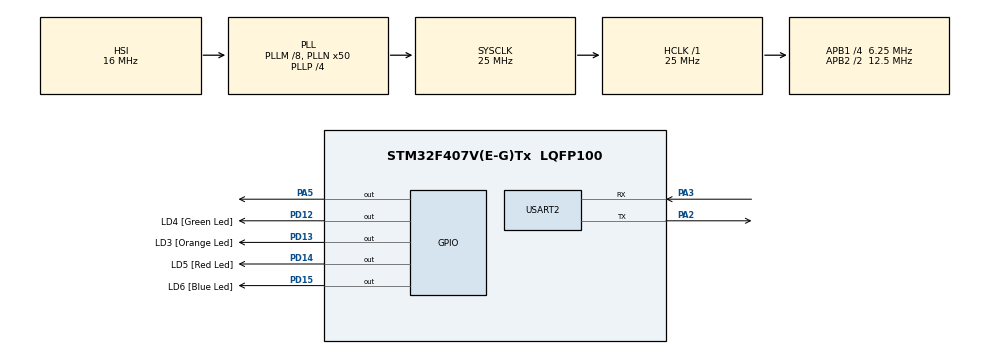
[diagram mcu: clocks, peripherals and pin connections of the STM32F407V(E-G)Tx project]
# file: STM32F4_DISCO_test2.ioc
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Mcu.Family=STM32F4
PD12.GPIO_Label=LD4 [Green Led]
Dma.USART2_TX.1.Priority=DMA_PRIORITY_LOW
RCC.CortexFreq_Value=25000000
PD12.GPIO_Speed=GPIO_SPEED_FREQ_LOW
FREERTOS.Tasks01=defaultTask,24,1500,StartDefaultTask,Default,NULL,Dynamic,NULL,NULL
PD15.GPIO_Label=LD6 [Blue Led]
Dma.USART2_TX.1.FIFOMode=DMA_FIFOMODE_DISABLE
Dma.USART2_TX.1.MemInc=DMA_MINC_ENABLE
PD15.GPIO_Speed=GPIO_SPEED_FREQ_LOW
Dma.USART2_RX.0.Direction=DMA_PERIPH_TO_MEMORY
RCC.APB1CLKDivider=RCC_HCLK_DIV4
Dma.USART2_TX.1.PeriphDataAlignment=DMA_PDATAALIGN_BYTE
RCC.SYSCLKSource=RCC_SYSCLKSOURCE_PLLCLK
ProjectManager.StackSize=0x400
VP_FREERTOS_VS_CMSIS_V2.Mode=CMSIS_V2
Dma.USART2_RX.0.Mode=DMA_NORMAL
PA13.Signal=SYS_JTMS-SWDIO
PD13.Signal=GPIO_Output
PA3.Mode=Asynchronous
PD14.GPIO_Speed=GPIO_SPEED_FREQ_LOW
ProjectManager.TargetToolchain=EWARM V8.32
NVIC.DMA1_Stream5_IRQn=true\:0\:0\:false\:false\:true\:true\:false\:true
Dma.USART2_RX.0.Priority=DMA_PRIORITY_LOW
Dma.USART2_RX.0.PeriphDataAlignment=DMA_PDATAALIGN_BYTE
RCC.HCLKFreq_Value=25000000
RCC.APB2TimFreq_Value=25000000
Dma.USART2_TX.1.Mode=DMA_NORMAL
RCC.LSE_VALUE=32768
RCC.AHBFreq_Value=25000000
PA5.Signal=GPIO_Output
RCC.HSE_VALUE=8000000
Dma.USART2_TX.1.PeriphInc=DMA_PINC_DISABLE
board=STM32F407G-DISC1
PD13.GPIO_Speed=GPIO_SPEED_FREQ_LOW
RCC.VCOOutputFreq_Value=100000000
Dma.USART2_TX.1.Direction=DMA_MEMORY_TO_PERIPH
RCC.APB2Freq_Value=12500000
Dma.USART2_RX.0.MemDataAlignment=DMA_MDATAALIGN_BYTE
PA14.Mode=Serial_Wire
Dma.USART2_TX.1.Instance=DMA1_Stream6
Dma.USART2_RX.0.Instance=DMA1_Stream5
PD13.GPIO_PuPd=GPIO_NOPULL
PD14.GPIO_PuPd=GPIO_NOPULL
PD14.GPIO_Label=LD5 [Red Led]
PA13.Mode=Serial_Wire
Mcu.Name=STM32F407V(E-G)Tx
Dma.USART2_RX.0.MemInc=DMA_MINC_ENABLE
FREERTOS.configTOTAL_HEAP_SIZE=50000
PA2.Signal=USART2_TX
PD14.Signal=GPIO_Output
RCC.48MHZClocksFreq_Value=14285714.285714285
RCC.SYSCLKFreq_VALUE=25000000
PD13.GPIO_Label=LD3 [Orange Led]
Mcu.Package=LQFP100
Dma.USART2_RX.0.PeriphInc=DMA_PINC_DISABLE
USART2.VirtualMode=VM_ASYNC
Dma.USART2_RX.0.FIFOMode=DMA_FIFOMODE_DISABLE
PD12.Signal=GPIO_Output
PD15.GPIO_PuPd=GPIO_NOPULL
PA14.Signal=SYS_JTCK-SWCLK
ProjectManager.HeapSize=0x200
RCC.HSI_VALUE=16000000
RCC.PLLP=RCC_PLLP_DIV4
RCC.PLLQ=7
NVIC.PriorityGroup=NVIC_PRIORITYGROUP_0
RCC.APB2CLKDivider=RCC_HCLK_DIV2
RCC.PLLM=8
RCC.PLLN=50
Dma.Request1=USART2_TX
RCC.APB1TimFreq_Value=12500000
PA2.Mode=Asynchronous
Dma.USART2_TX.1.MemDataAlignment=DMA_MDATAALIGN_BYTE
Dma.Request0=USART2_RX
NVIC.DMA1_Stream6_IRQn=true\:0\:0\:false\:false\:true\:true\:false\:true
RCC.APB1Freq_Value=6250000
PD15.Signal=GPIO_Output
PD12.GPIO_PuPd=GPIO_NOPULL
PA3.Signal=USART2_RX

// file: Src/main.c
/* USER CODE BEGIN Header */
/**
 ******************************************************************************
 * @file           : main.c
 * @brief          : Main program body
 ******************************************************************************
 * @attention
 *
 * <h2><center>&copy; Copyright (c) 2020 STMicroelectronics.
 * All rights reserved.</center></h2>
 *
 * This software component is licensed by ST under BSD 3-Clause license,
 * the "License"; You may not use this file except in compliance with the
 * License. You may obtain a copy of the License at:
 *                        opensource.org/licenses/BSD-3-Clause
 *
 ******************************************************************************
 */
/* USER CODE END Header */

#include "main.h"

#include "cmsis_os.h"

/* USER CODE BEGIN Includes */
#include <allocators.h>
#include <rcl/rcl.h>
#include <rmw_microxrcedds_c/config.h>
#include <ucdr/microcdr.h>
#include <uxr/client/client.h>

#include "FreeRTOS.h"
#include "stm32f4xx_hal.h"
#include "task.h"
/* USER CODE END Includes */

UART_HandleTypeDef huart2;
DMA_HandleTypeDef hdma_usart2_tx;
DMA_HandleTypeDef hdma_usart2_rx;

/* Definitions for defaultTask */
osThreadId_t defaultTaskHandle;
const osThreadAttr_t defaultTask_attributes = {
    .name = "defaultTask",
    .priority = (osPriority_t)osPriorityBelowNormal,
    .stack_size = 1500 * 4
  };

void SystemClock_Config(void);
static void MX_GPIO_Init(void);
static void MX_DMA_Init(void);
static void MX_USART2_UART_Init(void);
void StartDefaultTask(void *argument);

/* USER CODE BEGIN PFP */
#define BUFSIZE 4096
char buffer[BUFSIZE];
extern struct netif gnetif;
UART_HandleTypeDef *printf_uart = NULL;
/* USER CODE END PFP */

/* USER CODE BEGIN 0 */
int __io_putchar(int ch) {
  uint8_t c[1];
  c[0] = ch & 0x00FF;
  if (printf_uart != NULL) {
    HAL_UART_Transmit(printf_uart, &c[0], 1, 10);
  }
  return ch;
}

int _write(int file, char *ptr, int len) {
  int DataIdx;
  for (DataIdx = 0; DataIdx < len; DataIdx++) {
    __io_putchar(*ptr++);
  }
  return len;
}
/* USER CODE END 0 */

int main(void) {

  /* MCU Configuration--------------------------------------------------------*/

  /* Reset of all peripherals, Initializes the Flash interface and the Systick.
   */
  HAL_Init();

  /* Configure the system clock */
  SystemClock_Config();

  /* Initialize all configured peripherals */
  MX_GPIO_Init();
  MX_DMA_Init();
  MX_USART2_UART_Init();
  /* USER CODE BEGIN 2 */
#ifdef MICRO_XRCEDDS_UDP
  printf_uart = &huart2;
#elif defined(MICRO_XRCEDDS_CUSTOM_SERIAL)
  if (strcmp("2", RMW_UXRCE_DEFAULT_SERIAL_DEVICE)) {
    printf_uart = &huart2;
  }
#endif
  /* USER CODE END 2 */

  /* Init scheduler */
  osKernelInitialize();

  /* Create the thread(s) */
  /* creation of defaultTask */
  defaultTaskHandle =
      osThreadNew(StartDefaultTask, NULL, &defaultTask_attributes);

  /* Start scheduler */
  osKernelStart();

  /* We should never get here as control is now taken by the scheduler */
  /* Infinite loop */
  while (1) {
  }
}

void SystemClock_Config(void) {
  RCC_OscInitTypeDef RCC_OscInitStruct = {0};
  RCC_ClkInitTypeDef RCC_ClkInitStruct = {0};
  //RCC_PeriphCLKInitTypeDef PeriphClkInitStruct = {0};

  /** Configure the main internal regulator output voltage
   */
  __HAL_RCC_PWR_CLK_ENABLE();
  __HAL_PWR_VOLTAGESCALING_CONFIG(PWR_REGULATOR_VOLTAGE_SCALE1);
  /** Initializes the CPU, AHB and APB busses clocks
   */
  RCC_OscInitStruct.OscillatorType = RCC_OSCILLATORTYPE_HSI;
  RCC_OscInitStruct.HSIState = RCC_HSI_ON;
  RCC_OscInitStruct.HSICalibrationValue = RCC_HSICALIBRATION_DEFAULT;
  RCC_OscInitStruct.PLL.PLLState = RCC_PLL_ON;
  RCC_OscInitStruct.PLL.PLLSource = RCC_PLLSOURCE_HSI;
  RCC_OscInitStruct.PLL.PLLM = 8;
  RCC_OscInitStruct.PLL.PLLN = 50;
  RCC_OscInitStruct.PLL.PLLP = RCC_PLLP_DIV4;
  RCC_OscInitStruct.PLL.PLLQ = 7;
  if (HAL_RCC_OscConfig(&RCC_OscInitStruct) != HAL_OK)
  {
    Error_Handler();
  }
  /** Initializes the CPU, AHB and APB busses clocks
   */
  RCC_ClkInitStruct.ClockType = RCC_CLOCKTYPE_HCLK | RCC_CLOCKTYPE_SYSCLK |
                                RCC_CLOCKTYPE_PCLK1 | RCC_CLOCKTYPE_PCLK2;
  RCC_ClkInitStruct.SYSCLKSource = RCC_SYSCLKSOURCE_PLLCLK;
  RCC_ClkInitStruct.AHBCLKDivider = RCC_SYSCLK_DIV1;
  RCC_ClkInitStruct.APB1CLKDivider = RCC_HCLK_DIV4;
  RCC_ClkInitStruct.APB2CLKDivider = RCC_HCLK_DIV2;

  if (HAL_RCC_ClockConfig(&RCC_ClkInitStruct, FLASH_LATENCY_0) != HAL_OK) {
    Error_Handler();
  }
  /*
  PeriphClkInitStruct.PeriphClockSelection = RCC_PERIPHCLK_CLK48;
  PeriphClkInitStruct.Clk48ClockSelection = RCC_CLK48CLKSOURCE_PLLQ;
  if (HAL_RCCEx_PeriphCLKConfig(&PeriphClkInitStruct) != HAL_OK) {
    Error_Handler();
  }
  */
}

static void MX_USART2_UART_Init(void) {

  huart2.Instance = USART2;
  huart2.Init.BaudRate = 115200;
  huart2.Init.WordLength = UART_WORDLENGTH_8B;
  huart2.Init.StopBits = UART_STOPBITS_1;
  huart2.Init.Parity = UART_PARITY_NONE;
  huart2.Init.Mode = UART_MODE_TX_RX;
  huart2.Init.HwFlowCtl = UART_HWCONTROL_NONE;
  huart2.Init.OverSampling = UART_OVERSAMPLING_16;
  if (HAL_UART_Init(&huart2) != HAL_OK)
  {
    Error_Handler();
  }
}

static void MX_DMA_Init(void)
{

  /* DMA controller clock enable */
  __HAL_RCC_DMA1_CLK_ENABLE();

  /* DMA interrupt init */
  /* DMA1_Stream5_IRQn interrupt configuration */
  HAL_NVIC_SetPriority(DMA1_Stream5_IRQn, 0, 0);
  HAL_NVIC_EnableIRQ(DMA1_Stream5_IRQn);
  /* DMA1_Stream6_IRQn interrupt configuration */
  HAL_NVIC_SetPriority(DMA1_Stream6_IRQn, 0, 0);
  HAL_NVIC_EnableIRQ(DMA1_Stream6_IRQn);

}

static void MX_GPIO_Init(void) {
  GPIO_InitTypeDef GPIO_InitStruct = {0};

  /* GPIO Ports Clock Enable */
  __HAL_RCC_GPIOB_CLK_ENABLE();
  __HAL_RCC_GPIOD_CLK_ENABLE();
  __HAL_RCC_GPIOA_CLK_ENABLE();

  /*Configure GPIO pin Output Level */
  HAL_GPIO_WritePin(GPIOD, LD5_Pin | LD3_Pin | LD4_Pin | LD6_Pin, GPIO_PIN_RESET);

  HAL_GPIO_WritePin(GPIOA, GPIO_PIN_5, GPIO_PIN_RESET);

  /*Configure GPIO pins : LD5_Pin LD3_Pin LD5_Pin */
  GPIO_InitStruct.Pin = LD5_Pin | LD3_Pin | LD4_Pin | LD6_Pin;
  GPIO_InitStruct.Mode = GPIO_MODE_OUTPUT_PP;
  GPIO_InitStruct.Pull = GPIO_NOPULL;
  GPIO_InitStruct.Speed = GPIO_SPEED_FREQ_LOW;
  HAL_GPIO_Init(GPIOD, &GPIO_InitStruct);

  /*Configure GPIO pin : PA5 */
  GPIO_InitStruct.Pin = GPIO_PIN_5;
  GPIO_InitStruct.Mode = GPIO_MODE_OUTPUT_PP;
  GPIO_InitStruct.Pull = GPIO_NOPULL;
  GPIO_InitStruct.Speed = GPIO_SPEED_FREQ_LOW;
  HAL_GPIO_Init(GPIOA, &GPIO_InitStruct);

}

void StartDefaultTask(void *argument) {
  /* USER CODE BEGIN 5 */
  /* Infinite loop */
  HAL_GPIO_WritePin(LD4_GPIO_Port, LD4_Pin, GPIO_PIN_SET);
  HAL_GPIO_WritePin(GPIOA, GPIO_PIN_5, GPIO_PIN_SET);
  bool availableNetwork = false;

#ifdef MICRO_XRCEDDS_CUSTOM_SERIAL
  availableNetwork = true;
#elif defined(MICRO_XRCEDDS_UDP)

  printf("Ethernet Initialization\r\n");

  // Waiting for an IP
  printf("Waiting for IP\r\n");
  int retries = 0;
  while (gnetif.ip_addr.addr == 0 && retries < 10) {
    osDelay(500);
    retries++;
  };

  availableNetwork = (gnetif.ip_addr.addr != 0);
  if (availableNetwork) {
    printf("IP: %s\r\n", ip4addr_ntoa(&gnetif.ip_addr));
  } else {
    printf("Impossible to retrieve an IP\n");
  }
#endif

  // Launch app thread when IP configured
  rcl_allocator_t freeRTOS_allocator = rcutils_get_zero_initialized_allocator();
  freeRTOS_allocator.allocate = __freertos_allocate;
  freeRTOS_allocator.deallocate = __freertos_deallocate;
  freeRTOS_allocator.reallocate = __freertos_reallocate;
  freeRTOS_allocator.zero_allocate = __freertos_zero_allocate;

  if (!rcutils_set_default_allocator(&freeRTOS_allocator)) {
    printf("Error on default allocators (line %d)\n", __LINE__);
  }

  osThreadAttr_t attributes;
  memset(&attributes, 0x0, sizeof(osThreadAttr_t));
  attributes.name = "microROS_app";
  attributes.stack_size = 4 * 3000;
  attributes.priority = (osPriority_t)osPriorityNormal1;
  osThreadNew(appMain, NULL, &attributes);
  //HAL_GPIO_WritePin(LD4_GPIO_Port, LD4_Pin, GPIO_PIN_SET);
  osDelay(500);
  char ptrTaskList[500];
  vTaskList(ptrTaskList);
  printf("**********************************\n");
  printf("Task  State   Prio    Stack    Num\n");
  printf("**********************************\n");
  printf(ptrTaskList);
  printf("**********************************\n");

  TaskHandle_t xHandle;
  xHandle = xTaskGetHandle("microROS_app");
/*  if (eTaskGetState(xHandle) == eSuspended) {
  }

  if (availableNetwork == false) {
  }
*/

  while (1) {
    if (eTaskGetState(xHandle) != eSuspended && availableNetwork) {
      HAL_GPIO_WritePin(LD4_GPIO_Port, LD4_Pin, GPIO_PIN_RESET);
      osDelay(100);
      HAL_GPIO_WritePin(LD4_GPIO_Port, LD4_Pin, GPIO_PIN_SET);
      osDelay(100);
      HAL_GPIO_WritePin(LD4_GPIO_Port, LD4_Pin, GPIO_PIN_RESET);
      osDelay(150);
      HAL_GPIO_WritePin(LD4_GPIO_Port, LD4_Pin, GPIO_PIN_SET);
      osDelay(500);
    } else {
      HAL_GPIO_WritePin(LD5_GPIO_Port, LD5_Pin, GPIO_PIN_RESET);
      osDelay(1000);
      HAL_GPIO_WritePin(LD5_GPIO_Port, LD5_Pin, GPIO_PIN_SET);
      osDelay(1000);
    }
  }

  /* USER CODE END 5 */
}

void HAL_TIM_PeriodElapsedCallback(TIM_HandleTypeDef *htim) {
  if (htim->Instance == TIM1) {
    HAL_IncTick();
  }
}

void Error_Handler(void) {
}

#ifdef USE_FULL_ASSERT
/**
 * @brief  Reports the name of the source file and the source line number
 *         where the assert_param error has occurred.
 * @param  file: pointer to the source file name
 * @param  line: assert_param error line source number
 * @retval None
 */
void assert_failed(uint8_t *file, uint32_t line) {
  /* USER CODE BEGIN 6 */
  /* User can add his own implementation to report the file name and line
     number,
     tex: printf("Wrong parameters value: file %s on line %d\r\n", file, line)
   */
  /* USER CODE END 6 */
}
#endif /* USE_FULL_ASSERT */

/************************ (C) COPYRIGHT STMicroelectronics *****END OF FILE****/
